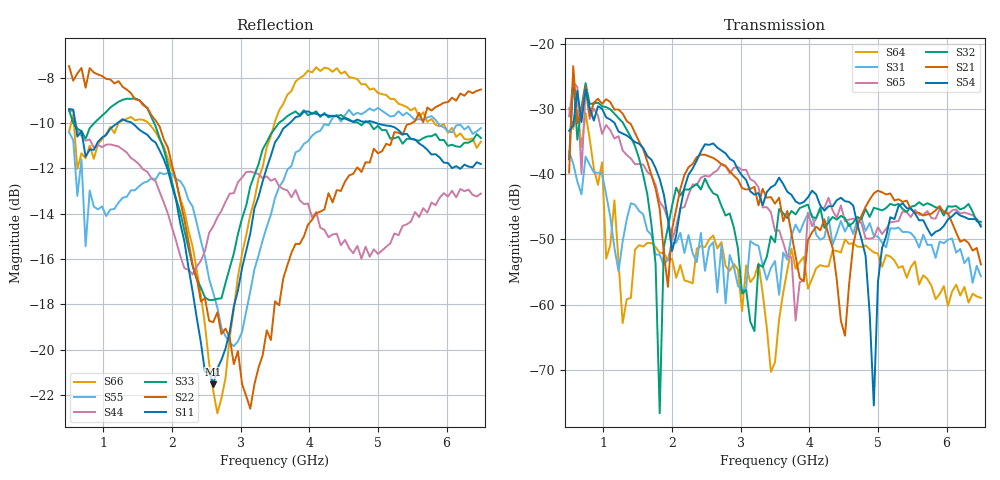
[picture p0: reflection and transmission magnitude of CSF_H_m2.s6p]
!Keysight Technologies,M9804A,MY58100912,A.14.10.03
!Date: Thursday, April 27, 2023 10:28:33
!Correction: S11(C  6-Port  )
!S12(C  6-Port  )
!S13(C  6-Port  )
!S14(C  6-Port  )
!S15(C  6-Port  )
!S16(C  6-Port  )
!S21(C  6-Port  )
!S22(C  6-Port  )
!S23(C  6-Port  )
!S24(C  6-Port  )
!S25(C  6-Port  )
!S26(C  6-Port  )
!S31(C  6-Port  )
!S32(C  6-Port  )
!S33(C  6-Port  )
!S34(C  6-Port  )
!S35(C  6-Port  )
!S36(C  6-Port  )
!S41(C  6-Port  )
!S42(C  6-Port  )
!S43(C  6-Port  )
!S44(C  6-Port  )
!S45(C  6-Port  )
!S46(C  6-Port  )
!S51(C  6-Port  )
!S52(C  6-Port  )
!S53(C  6-Port  )
!S54(C  6-Port  )
!S55(C  6-Port  )
!S56(C  6-Port  )
!S61(C  6-Port  )
!S62(C  6-Port  )
!S63(C  6-Port  )
!S64(C  6-Port  )
!S65(C  6-Port  )
!S66(C  6-Port  )
!S6P File: Measurement: :
# Hz S  RI  R 50
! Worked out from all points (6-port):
!   101 points, 500 MHz to 6.5 GHz, reference 50 ohm
!   strongest paths, dB at 500 MHz, 2 GHz, 3.5 GHz, 5 GHz, 6.5 GHz:
!     S54: -33.3, -51.8, -41.6, -56.5, -48.0
!     S21: -39.7, -48.4, -44.5, -42.5, -53.8
!     S32: -37.7, -44.8, -50.4, -45.3, -47.3
!     S65: -31.1, -50.1, -48.7, -48.1, -47.7
!     S31: -36.5, -50.6, -53.3, -49.6, -55.6
!     S64: -29.9, -53.0, -68.9, -52.2, -59.0
!   lowest |S11| = -21.5 dB at 2.6 GHz (marker M1), VSWR 1.18, Z = 42.5 + j2.15 ohm
!   |S11| at or under -10 dB: 590.1 MHz to 1.202 GHz (611.8 MHz wide, 68.3 % of centre); 1.418 GHz to 3.713 GHz (2.295 GHz wide, 89.5 % of centre); 4.977 GHz to end of sweep
